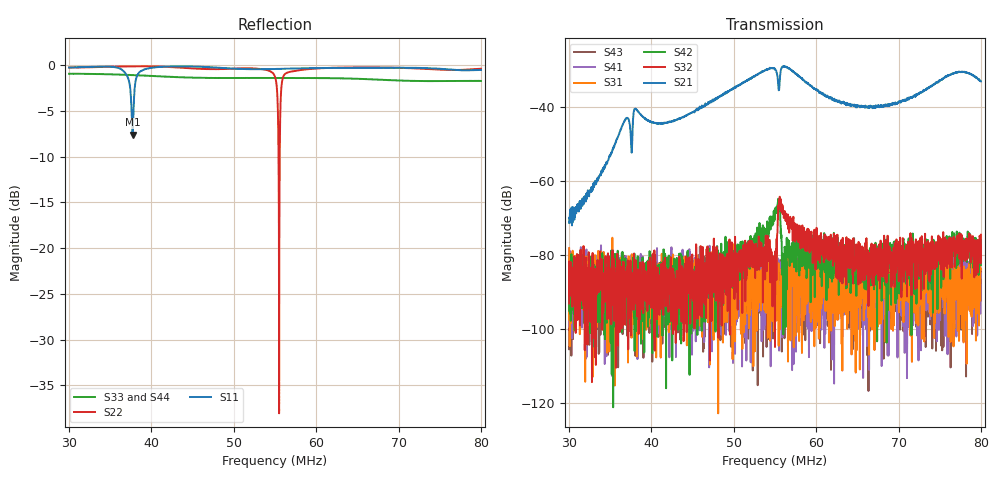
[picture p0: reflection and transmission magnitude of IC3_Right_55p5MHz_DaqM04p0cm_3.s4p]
#  HZ  S  DB  R  50.00
! Rohde & Schwarz Vector Network Analyzer
! Rohde-Schwarz,ZNB8-4Port,1311601044102961,2.82
! Created: UTC 2/13/2019, 1:39:47 PM
! freq[Hz]  db:S11  ang:S11  db:S12  ang:S12  db:S13  ang:S13  db:S14  ang:S14
!  db:S21  ang:S21  db:S22  ang:S22  db:S23  ang:S23  db:S24  ang:S24
!  db:S31  ang:S31  db:S32  ang:S32  db:S33  ang:S33  db:S34  ang:S34
!  db:S41  ang:S41  db:S42  ang:S42  db:S43  ang:S43  db:S44  ang:S44
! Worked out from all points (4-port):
!   2001 points, 30 MHz to 80 MHz, reference 50 ohm
!   strongest paths, dB at 30 MHz, 42.5 MHz, 55 MHz, 67.5 MHz, 80 MHz:
!     S21: -71.3, -43.9, -30.0, -39.8, -33.2
!     S32: -93.1, -93.1, -104.8, -78.9, -74.5
!     S42: -83.2, -92.7, -68.8, -80.6, -82.7
!     S31: -78.1, -81.1, -92.8, -99.3, -83.7
!     S41: -85.8, -86.8, -85.4, -90.7, -85.8
!     S43: -84.0, -87.4, -93.0, -86.0, -84.6
!   lowest |S11| = -7.6 dB at 37.7 MHz (marker M1), VSWR 2.43, Z = 104 - j38.3 ohm
!   |S11| at or under -10 dB: nowhere
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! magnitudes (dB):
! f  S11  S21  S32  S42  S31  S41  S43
! 30 MHz  -0.3  -71.3  -93.1  -83.2  -78.1  -85.8  -84.0
! 37.7 MHz  -7.6  -46.3  -94.7  -85.5  -85.1  -85.8  -88.7
! 54.88 MHz  -0.4  -29.7  -84.4  -68.6  -100.6  -88.9  -80.6
! 55.65 MHz  -0.4  -31.0  -66.0  -70.7  -93.8  -89.4  -85.5
! 56.12 MHz  -0.4  -29.1  -69.6  -86.3  -87.7  -81.0  -85.3
! 59.77 MHz  -0.3  -35.1  -73.2  -75.6  -104.6  -80.9  -85.3
! 80 MHz  -0.5  -33.2  -74.5  -82.7  -83.7  -85.8  -84.6
